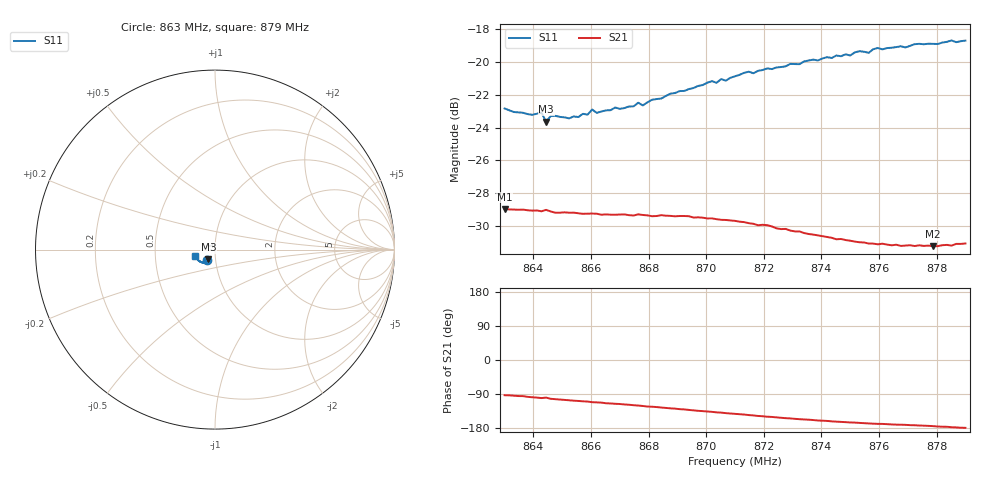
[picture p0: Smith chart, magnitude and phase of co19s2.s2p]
# HZ S RI R 50
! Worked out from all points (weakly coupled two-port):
!   101 points, 863 MHz to 879 MHz, reference 50 ohm
!   highest |S21| = -28.98 dB at 863 MHz (marker M1); lowest = -31.3 dB at 877.88 MHz (marker M2)
!   lowest |S11| = -23.6 dB at 864.44 MHz (marker M3), VSWR 1.14, Z = 46.2 - j5.08 ohm
!   |S11| at or under -10 dB: start of sweep to end of sweep
!   S12 and S22 are empty: the file has one direction only
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8.63e8  -0.0452 -0.0563  -0.0018 -0.0355  0 0  0 0
8.6396e8  -0.0411 -0.0555  -0.00506 -0.0348  0 0  0 0
8.6428e8  -0.04 -0.0575  -0.00637 -0.0344  0 0  0 0
8.6444e8  -0.0364 -0.0548  -0.00565 -0.0349  0 0  0 0
8.646e8  -0.0389 -0.0563  -0.00751 -0.0341  0 0  0 0
8.6524e8  -0.0373 -0.056  -0.00971 -0.0332  0 0  0 0
8.6572e8  -0.0351 -0.06  -0.0112 -0.0325  0 0  0 0
8.6588e8  -0.0364 -0.0587  -0.0116 -0.0324  0 0  0 0
8.6604e8  -0.0399 -0.0595  -0.0125 -0.0321  0 0  0 0
8.662e8  -0.0361 -0.0599  -0.0128 -0.0319  0 0  0 0
8.6684e8  -0.0361 -0.0631  -0.0148 -0.0308  0 0  0 0
8.6748e8  -0.0349 -0.0644  -0.0166 -0.0296  0 0  0 0
8.6764e8  -0.0371 -0.0653  -0.0172 -0.0296  0 0  0 0
8.678e8  -0.0361 -0.0643  -0.0177 -0.0291  0 0  0 0
8.6812e8  -0.0384 -0.0664  -0.0186 -0.0283  0 0  0 0
8.6844e8  -0.0382 -0.0673  -0.0197 -0.0277  0 0  0 0
8.6876e8  -0.0393 -0.0698  -0.0206 -0.0269  0 0  0 0
8.71e8  -0.0522 -0.074  -0.0258 -0.0201  0 0  0 0
8.7372e8  -0.0714 -0.0726  -0.0276 -0.0109  0 0  0 0
8.7644e8  -0.0939 -0.0585  -0.0271 -0.00474  0 0  0 0
8.7788e8  -0.1039 -0.0464  -0.0272 -0.00261  0 0  0 0
8.79e8  -0.1107 -0.0359  -0.0279 -0.000495  0 0  0 0
